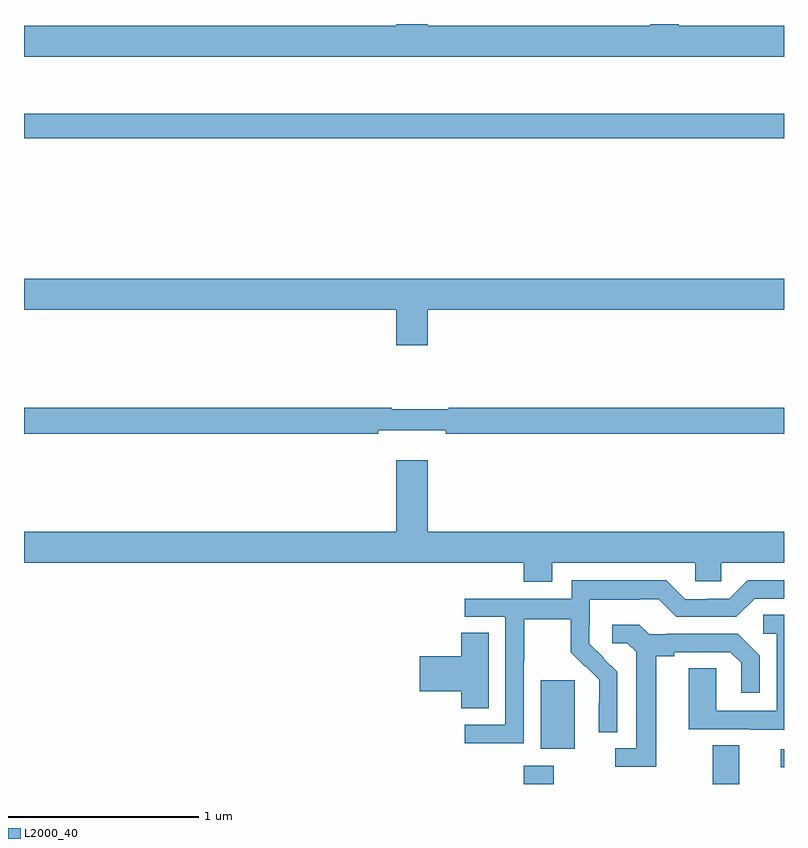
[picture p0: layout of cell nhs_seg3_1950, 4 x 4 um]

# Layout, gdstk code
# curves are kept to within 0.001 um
import gdstk
lib = gdstk.Library(unit=1e-6, precision=1e-09)
def R(c, l, rs):  # rectangles x0, y0, x1, y1
    for r in rs: c.add(gdstk.rectangle(r[:2], r[2:], *l))
def P(c, l, *ps):  # polygons
    for p in ps: c.add(gdstk.Polygon(p, *l))
L2000_40 = (2000, 40)

nhs_seg3_1950 = lib.new_cell('nhs_seg3_1950')
R(nhs_seg3_1950, L2000_40, [(213.629,718.4,213.789,718.495), (214.625,718.4,214.765,718.604), (214.983,718.488,215,718.584), (213.719,718.586,213.898,718.947), (211,721.798,215,721.927)])
P(nhs_seg3_1950, L2000_40, [(215,722.392),(214.447,722.392),(214.447,722.4),(214.295,722.4),(214.295,722.392),(213.124,722.392),(213.124,722.4),(212.96,722.4),(212.96,722.392),(211,722.392),(211,722.228),(215,722.228)],
  [(213.124,720.896),(215,720.896),(215,721.06),(211,721.06),(211,720.896),(212.96,720.896),(212.96,720.708),(213.124,720.708)],
  [(212.864,720.263),(213.22,720.263),(213.22,720.244),(215,720.244),(215,720.38),(213.236,720.38),(213.236,720.373),(212.936,720.373),(212.936,720.38),(211,720.38),(211,720.244),(212.864,720.244)],
  [(213.781,719.564),(214.533,719.564),(214.533,719.466),(214.671,719.466),(214.671,719.564),(215,719.564),(215,719.728),(213.124,719.728),(213.124,720.103),(212.96,720.103),(212.96,719.728),(211,719.728),(211,719.564),(213.629,719.564),(213.629,719.465),(213.781,719.465)],
  [(213.63,719.044),(213.633,719.044),(213.633,719.268),(213.877,719.268),(213.877,719.093),(213.954,719.016),(213.957,719.019),(214.028,718.949),(214.028,718.826),(214.026,718.826),(214.026,718.672),(214.122,718.672),(214.122,718.99),(213.976,719.138),(213.976,719.235),(213.978,719.235),(213.978,719.369),(214.241,719.369),(214.241,719.373),(214.341,719.373),(214.434,719.28),(214.749,719.28),(214.845,719.376),(215,719.376),(215,719.472),(214.809,719.472),(214.713,719.376),(214.595,719.376),(214.595,719.373),(214.479,719.373),(214.379,719.473),(213.882,719.473),(213.882,719.376),(213.321,719.376),(213.321,719.28),(213.534,719.28),(213.534,718.713),(213.321,718.713),(213.321,718.615),(213.63,718.615)],
  [(215,719.291),(214.89,719.291),(214.89,719.19),(214.962,719.19),(214.962,718.785),(214.644,718.785),(214.644,719.009),(214.499,719.009),(214.499,718.689),(214.823,718.689),(214.823,718.685),(215,718.685)],
  [(214.327,719.072),(214.423,719.072),(214.423,719.094),(214.718,719.094),(214.775,719.037),(214.775,718.881),(214.872,718.881),(214.872,719.074),(214.756,719.19),(214.384,719.19),(214.384,719.187),(214.29,719.187),(214.238,719.239),(214.095,719.239),(214.095,719.142),(214.176,719.142),(214.223,719.095),(214.223,718.587),(214.113,718.587),(214.113,718.491),(214.327,718.491)],
  [(213.445,719.195),(213.302,719.195),(213.302,719.072),(213.084,719.072),(213.084,718.889),(213.302,718.889),(213.302,718.798),(213.445,718.798)])

lib.write_gds('nhs_seg3_1950.gds')
